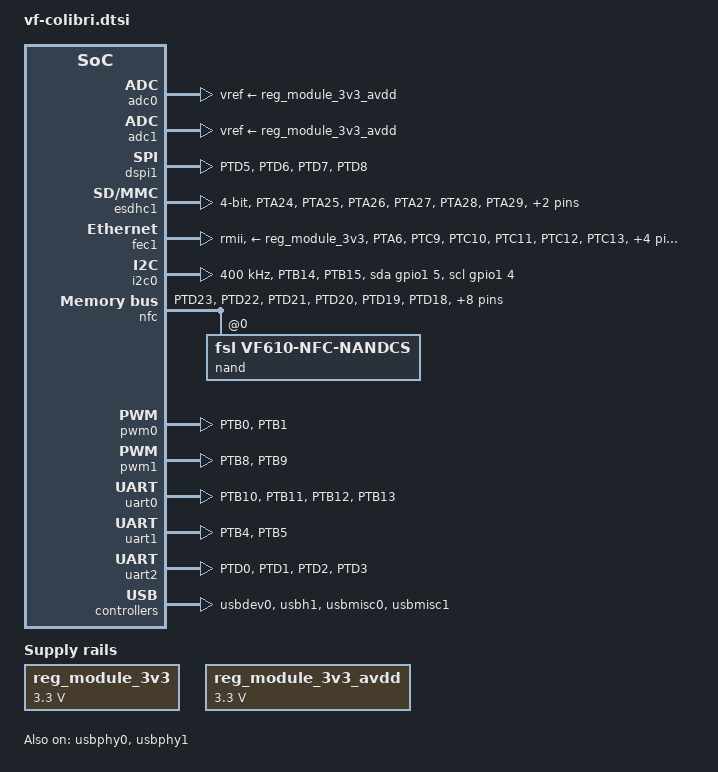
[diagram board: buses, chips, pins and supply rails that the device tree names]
// SPDX-License-Identifier: GPL-2.0+ OR MIT
/*
 * Copyright 2014-2020 Toradex
 *
 */

/ {
	aliases {
		ethernet0 = &fec1;
		ethernet1 = &fec0;
	};

	bl: backlight {
		compatible = "pwm-backlight";
		pinctrl-names = "default";
		pinctrl-0 = <&pinctrl_gpio_bl_on>;
		pwms = <&pwm0 0 5000000 0>;
		enable-gpios = <&gpio1 13 GPIO_ACTIVE_HIGH>;
		status = "disabled";
	};

	reg_module_3v3: regulator-module-3v3 {
		compatible = "regulator-fixed";
		regulator-name = "+V3.3";
		regulator-min-microvolt = <3300000>;
		regulator-max-microvolt = <3300000>;
	};

	reg_module_3v3_avdd: regulator-module-3v3-avdd {
		compatible = "regulator-fixed";
		regulator-name = "+V3.3_AVDD_AUDIO";
		regulator-min-microvolt = <3300000>;
		regulator-max-microvolt = <3300000>;
	};
};

&adc0 {
	status = "okay";
	vref-supply = <&reg_module_3v3_avdd>;
};

&adc1 {
	status = "okay";
	vref-supply = <&reg_module_3v3_avdd>;
};

&can0 {
	pinctrl-names = "default";
	pinctrl-0 = <&pinctrl_flexcan0>;
	status = "disabled";
};

&can1 {
	pinctrl-names = "default";
	pinctrl-0 = <&pinctrl_flexcan1>;
	status = "disabled";
};

&clks {
	assigned-clocks = <&clks VF610_CLK_ENET_SEL>,
			  <&clks VF610_CLK_ENET_TS_SEL>;
	assigned-clock-parents = <&clks VF610_CLK_ENET_50M>,
				 <&clks VF610_CLK_ENET_50M>;
};

&dspi1 {
	bus-num = <1>;
	pinctrl-names = "default";
	pinctrl-0 = <&pinctrl_dspi1>;
};

&edma0 {
	status = "okay";
};

&edma1 {
	status = "okay";
};

&esdhc1 {
	pinctrl-names = "default";
	pinctrl-0 = <&pinctrl_esdhc1>;
	bus-width = <4>;
	cd-gpios = <&gpio1 10 GPIO_ACTIVE_LOW>;
	disable-wp;
};

&fec1 {
	phy-mode = "rmii";
	phy-supply = <&reg_module_3v3>;
	pinctrl-names = "default";
	pinctrl-0 = <&pinctrl_fec1>;
};

&i2c0 {
	clock-frequency = <400000>;
	pinctrl-names = "default", "gpio";
	pinctrl-0 = <&pinctrl_i2c0>;
	pinctrl-1 = <&pinctrl_i2c0_gpio>;
	scl-gpios = <&gpio1 4 (GPIO_ACTIVE_HIGH | GPIO_OPEN_DRAIN)>;
	sda-gpios = <&gpio1 5 (GPIO_ACTIVE_HIGH | GPIO_OPEN_DRAIN)>;
};

&nfc {
	pinctrl-names = "default";
	pinctrl-0 = <&pinctrl_nfc>;
	status = "okay";

	nand@0 {
		compatible = "fsl,vf610-nfc-nandcs";
		reg = <0>;
		#address-cells = <1>;
		#size-cells = <1>;
		nand-bus-width = <8>;
		nand-ecc-mode = "hw";
		nand-ecc-strength = <32>;
		nand-ecc-step-size = <2048>;
		nand-on-flash-bbt;
	};
};

&pwm0 {
	pinctrl-names = "default";
	pinctrl-0 = <&pinctrl_pwm0>;
};

&pwm1 {
	pinctrl-names = "default";
	pinctrl-0 = <&pinctrl_pwm1>;
};

&uart0 {
	pinctrl-names = "default";
	pinctrl-0 = <&pinctrl_uart0>;
};

&uart1 {
	pinctrl-names = "default";
	pinctrl-0 = <&pinctrl_uart1>;
};

&uart2 {
	pinctrl-names = "default";
	pinctrl-0 = <&pinctrl_uart2>;
};

&usbdev0 {
	disable-over-current;
	status = "okay";
};

&usbh1 {
	disable-over-current;
	status = "okay";
};

&usbmisc0 {
	status = "okay";
};

&usbmisc1 {
	status = "okay";
};

&usbphy0 {
	status = "okay";
};

&usbphy1 {
	status = "okay";
};

&iomuxc {
	pinctrl_flexcan0: can0grp {
		fsl,pins = <
			VF610_PAD_PTB14__CAN0_RX	0x31F1
			VF610_PAD_PTB15__CAN0_TX	0x31F2
		>;
	};

	pinctrl_flexcan1: can1grp {
		fsl,pins = <
			VF610_PAD_PTB16__CAN1_RX	0x31F1
			VF610_PAD_PTB17__CAN1_TX	0x31F2
		>;
	};

	pinctrl_gpio_ext: gpio_extgrp {
		fsl,pins = <
			VF610_PAD_PTD10__GPIO_89	0x22ed /* EXT_IO_0 */
			VF610_PAD_PTD9__GPIO_88		0x22ed /* EXT_IO_1 */
			VF610_PAD_PTD26__GPIO_68	0x22ed /* EXT_IO_2 */
		>;
	};

	pinctrl_dcu0_1: dcu01grp {
		fsl,pins = <
			VF610_PAD_PTE0__DCU0_HSYNC	0x1902
			VF610_PAD_PTE1__DCU0_VSYNC	0x1902
			VF610_PAD_PTE2__DCU0_PCLK	0x1902
			VF610_PAD_PTE4__DCU0_DE		0x1902
			VF610_PAD_PTE5__DCU0_R0		0x1902
			VF610_PAD_PTE6__DCU0_R1		0x1902
			VF610_PAD_PTE7__DCU0_R2		0x1902
			VF610_PAD_PTE8__DCU0_R3		0x1902
			VF610_PAD_PTE9__DCU0_R4		0x1902
			VF610_PAD_PTE10__DCU0_R5	0x1902
			VF610_PAD_PTE11__DCU0_R6	0x1902
			VF610_PAD_PTE12__DCU0_R7	0x1902
			VF610_PAD_PTE13__DCU0_G0	0x1902
			VF610_PAD_PTE14__DCU0_G1	0x1902
			VF610_PAD_PTE15__DCU0_G2	0x1902
			VF610_PAD_PTE16__DCU0_G3	0x1902
			VF610_PAD_PTE17__DCU0_G4	0x1902
			VF610_PAD_PTE18__DCU0_G5	0x1902
			VF610_PAD_PTE19__DCU0_G6	0x1902
			VF610_PAD_PTE20__DCU0_G7	0x1902
			VF610_PAD_PTE21__DCU0_B0	0x1902
			VF610_PAD_PTE22__DCU0_B1	0x1902
			VF610_PAD_PTE23__DCU0_B2	0x1902
			VF610_PAD_PTE24__DCU0_B3	0x1902
			VF610_PAD_PTE25__DCU0_B4	0x1902
			VF610_PAD_PTE26__DCU0_B5	0x1902
			VF610_PAD_PTE27__DCU0_B6	0x1902
			VF610_PAD_PTE28__DCU0_B7	0x1902
		>;
	};

	pinctrl_dspi1: dspi1grp {
		fsl,pins = <
			VF610_PAD_PTD5__DSPI1_CS0		0x33e2
			VF610_PAD_PTD6__DSPI1_SIN		0x33e1
			VF610_PAD_PTD7__DSPI1_SOUT		0x33e2
			VF610_PAD_PTD8__DSPI1_SCK		0x33e2
		>;
	};

	pinctrl_esdhc1: esdhc1grp {
		fsl,pins = <
			VF610_PAD_PTA24__ESDHC1_CLK	0x31ef
			VF610_PAD_PTA25__ESDHC1_CMD	0x31ef
			VF610_PAD_PTA26__ESDHC1_DAT0	0x31ef
			VF610_PAD_PTA27__ESDHC1_DAT1	0x31ef
			VF610_PAD_PTA28__ESDHC1_DATA2	0x31ef
			VF610_PAD_PTA29__ESDHC1_DAT3	0x31ef
			VF610_PAD_PTB20__GPIO_42	0x219d
		>;
	};

	pinctrl_fec1: fec1grp {
		fsl,pins = <
			VF610_PAD_PTA6__RMII_CLKOUT		0x30d2
			VF610_PAD_PTC9__ENET_RMII1_MDC		0x30d2
			VF610_PAD_PTC10__ENET_RMII1_MDIO	0x30d3
			VF610_PAD_PTC11__ENET_RMII1_CRS		0x30d1
			VF610_PAD_PTC12__ENET_RMII1_RXD1	0x30d1
			VF610_PAD_PTC13__ENET_RMII1_RXD0	0x30d1
			VF610_PAD_PTC14__ENET_RMII1_RXER	0x30d1
			VF610_PAD_PTC15__ENET_RMII1_TXD1	0x30d2
			VF610_PAD_PTC16__ENET_RMII1_TXD0	0x30d2
			VF610_PAD_PTC17__ENET_RMII1_TXEN	0x30d2
		>;
	};

	pinctrl_gpio_bl_on: gpio_bl_ongrp {
		fsl,pins = <
			VF610_PAD_PTC0__GPIO_45		0x22ef
		>;
	};

	pinctrl_i2c0: i2c0grp {
		fsl,pins = <
			VF610_PAD_PTB14__I2C0_SCL		0x37ff
			VF610_PAD_PTB15__I2C0_SDA		0x37ff
		>;
	};

	pinctrl_i2c0_gpio: i2c0gpiogrp {
		fsl,pins = <
			VF610_PAD_PTB14__GPIO_36		0x37ff
			VF610_PAD_PTB15__GPIO_37		0x37ff
		>;
	};

	pinctrl_nfc: nfcgrp {
		fsl,pins = <
			VF610_PAD_PTD23__NF_IO7		0x28df
			VF610_PAD_PTD22__NF_IO6		0x28df
			VF610_PAD_PTD21__NF_IO5		0x28df
			VF610_PAD_PTD20__NF_IO4		0x28df
			VF610_PAD_PTD19__NF_IO3		0x28df
			VF610_PAD_PTD18__NF_IO2		0x28df
			VF610_PAD_PTD17__NF_IO1		0x28df
			VF610_PAD_PTD16__NF_IO0		0x28df
			VF610_PAD_PTB24__NF_WE_B	0x28c2
			VF610_PAD_PTB25__NF_CE0_B	0x28c2
			VF610_PAD_PTB27__NF_RE_B	0x28c2
			VF610_PAD_PTC26__NF_RB_B	0x283d
			VF610_PAD_PTC27__NF_ALE		0x28c2
			VF610_PAD_PTC28__NF_CLE		0x28c2
		>;
	};

	pinctrl_pwm0: pwm0grp {
		fsl,pins = <
			VF610_PAD_PTB0__FTM0_CH0		0x1182
			VF610_PAD_PTB1__FTM0_CH1		0x1182
		>;
	};

	pinctrl_pwm1: pwm1grp {
		fsl,pins = <
			VF610_PAD_PTB8__FTM1_CH0		0x1182
			VF610_PAD_PTB9__FTM1_CH1		0x1182
		>;
	};

	pinctrl_uart0: uart0grp {
		fsl,pins = <
			VF610_PAD_PTB10__UART0_TX		0x21a2
			VF610_PAD_PTB11__UART0_RX		0x21a1
			VF610_PAD_PTB12__UART0_RTS		0x21a2
			VF610_PAD_PTB13__UART0_CTS		0x21a1
		>;
	};

	pinctrl_uart1: uart1grp {
		fsl,pins = <
			VF610_PAD_PTB4__UART1_TX		0x21a2
			VF610_PAD_PTB5__UART1_RX		0x21a1
		>;
	};

	pinctrl_uart2: uart2grp {
		fsl,pins = <
			VF610_PAD_PTD0__UART2_TX		0x21a2
			VF610_PAD_PTD1__UART2_RX		0x21a1
			VF610_PAD_PTD2__UART2_RTS		0x21a2
			VF610_PAD_PTD3__UART2_CTS		0x21a1
		>;
	};

	pinctrl_usbh1_reg: gpio_usb_vbusgrp {
		fsl,pins = <
			VF610_PAD_PTD4__GPIO_83			0x22ed
		>;
	};
};
